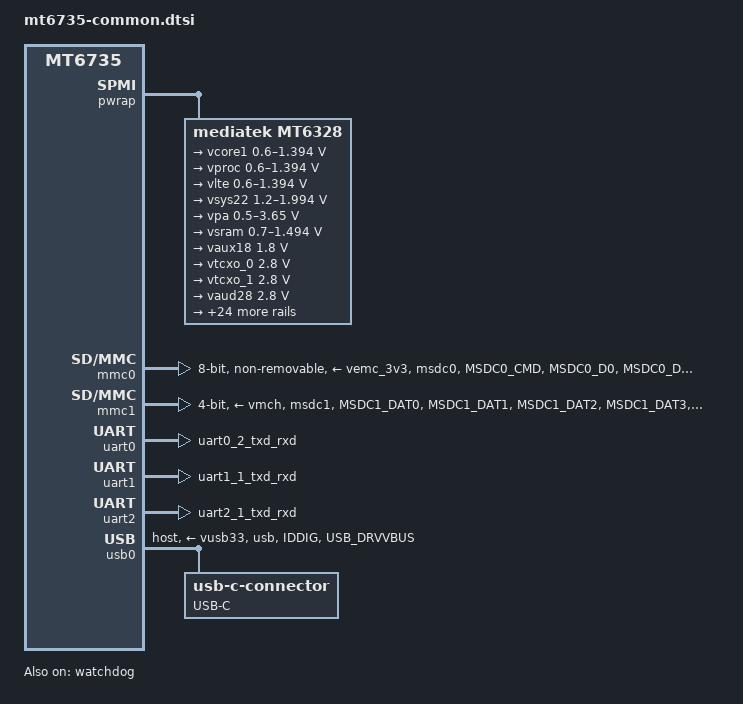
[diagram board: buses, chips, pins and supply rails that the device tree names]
// SPDX-License-Identifier: (GPL-2.0 OR MIT)
/*
 * Copyright (C) 2018 MediaTek Inc.
 * Author: Ryder Lee <ryder.lee@mediatek.com>
 */

/dts-v1/;
#include "mt6735.dtsi"

/ {
	#address-cells = <1>;
	#size-cells = <1>;

	chosen {
		stdout-path = &uart0;
	};
};

&pwrap {
	status = "okay";

	mt6328: pmic {
		compatible = "mediatek,mt6328";
		interrupts = <GIC_SPI 163 IRQ_TYPE_LEVEL_HIGH>;

		interrupt-controller;
		#interrupt-cells = <2>;

		regulators {
			vcore1: buck_vcore1 {
				regulator-name = "buck_vcore1";
				regulator-always-on;
				regulator-min-microvolt = <600000>;
				regulator-max-microvolt = <1393750>;
			};

			vproc: buck_vproc {
				regulator-name = "buck_vproc";
				regulator-always-on;
				regulator-min-microvolt = <600000>;
				regulator-max-microvolt = <1393750>;
			};

			vlte: buck_vlte {
				regulator-name = "buck_vlte";
				regulator-always-on;
				regulator-min-microvolt = <600000>;
				regulator-max-microvolt = <1393750>;
			};

			vsys22: buck_vsys22 {
				regulator-name = "buck_vsys22";
				regulator-min-microvolt = <1200000>;
				regulator-max-microvolt = <1993750>;
				regulator-ramp-delay = <6250>;
				regulator-enable-ramp-delay = <180>;
				regulator-always-on;
				regulator-boot-on;
			};

			vpa: buck_vpa {
				regulator-name = "buck_vpa";
				regulator-min-microvolt = <500000>;
				regulator-max-microvolt = <3650000>;
				regulator-ramp-delay = <50000>;
				regulator-enable-ramp-delay = <180>;
			};

			vsram: ldo_vsram {
				regulator-name = "vsram";
				regulator-min-microvolt = <700000>;
				regulator-max-microvolt = <1493750>;
				regulator-enable-ramp-delay = <220>;
				regulator-ramp-delay = <6250>;
				regulator-boot-on;
			};

			vaux18: ldo_vaux18 {
				regulator-name = "ldo_vaux18";
				regulator-min-microvolt = <1800000>;
				regulator-max-microvolt = <1800000>;
				regulator-enable-ramp-delay = <264>;
				regulator-boot-on;
			};

			vtcxo_0: ldo_vtcxo_0 {
				regulator-name = "ldo_vtcxo_0";
				regulator-min-microvolt = <2800000>;
				regulator-max-microvolt = <2800000>;
				regulator-enable-ramp-delay = <110>;
				regulator-boot-on;
			};

			vtcxo_1: ldo_vtcxo_1 {
				regulator-name = "ldo_vtcxo_1";
				regulator-min-microvolt = <2800000>;
				regulator-max-microvolt = <2800000>;
				regulator-enable-ramp-delay = <110>;
			};

			vaud28: ldo_vaud28 {
				regulator-name = "ldo_vaud28";
				regulator-min-microvolt = <2800000>;
				regulator-max-microvolt = <2800000>;
				regulator-enable-ramp-delay = <264>;
				regulator-boot-on;
			};

			vcn28: ldo_vcn28 {
				regulator-name = "ldo_vcn28";
				regulator-min-microvolt = <2800000>;
				regulator-max-microvolt = <2800000>;
				regulator-enable-ramp-delay = <264>;
			};

			vcama: ldo_vcama {
				regulator-name = "ldo_vcama";
				regulator-min-microvolt = <1500000>;
				regulator-max-microvolt = <2800000>;
				regulator-enable-ramp-delay = <264>;
			};

			vcn33_bt: ldo_vcn33_bt {
				regulator-name = "ldo_vcn33_bt";
				regulator-min-microvolt = <3300000>;
				regulator-max-microvolt = <3600000>;
				regulator-enable-ramp-delay = <264>;
			};

			vcn33_wifi: ldo_vcn33_wifi {
				regulator-name = "ldo_vcn33_wifi";
				regulator-min-microvolt = <3300000>;
				regulator-max-microvolt = <3600000>;
				regulator-enable-ramp-delay = <264>;
			};

			vusb33: ldo_vusb33 {
				regulator-name = "ldo_vusb33";
				regulator-min-microvolt = <3300000>;
				regulator-max-microvolt = <3300000>;
				regulator-enable-ramp-delay = <264>;
				regulator-boot-on;
			};

			vefuse: ldo_vefuse {
				regulator-name = "ldo_vefuse";
				regulator-min-microvolt = <1800000>;
				regulator-max-microvolt = <2200000>;
				regulator-enable-ramp-delay = <264>;
			};

			sim1: ldo_vsim1 {
				regulator-name = "ldo_vsim1";
				regulator-min-microvolt = <1700000>;
				regulator-max-microvolt = <2100000>;
				regulator-enable-ramp-delay = <264>;
			};

			sim2: ldo_vsim2 {
				regulator-name = "ldo_vsim2";
				regulator-min-microvolt = <1700000>;
				regulator-max-microvolt = <2100000>;
				regulator-enable-ramp-delay = <264>;
			};

			vemc_3v3: ldo_vemc3v3 {
				regulator-name = "ldo_vemc3v3";
				regulator-min-microvolt = <1800000>;
				regulator-max-microvolt = <3300000>;
				regulator-enable-ramp-delay = <264>;
				regulator-boot-on;
			};

			vmch: ldo_vmch {
				regulator-name = "ldo_vmch";
				regulator-min-microvolt = <2900000>;
				regulator-max-microvolt = <3300000>;
				regulator-enable-ramp-delay = <44>;
			};

			vtref: ldo_vtref {
				regulator-name = "ldo_vtref";
				regulator-min-microvolt = <1800000>;
				regulator-max-microvolt = <1800000>;
				regulator-enable-ramp-delay = <240>;
			};

			vmc: ldo_vmc {
				regulator-name = "ldo_vmc";
				regulator-min-microvolt = <1800000>;
				regulator-max-microvolt = <3300000>;
				regulator-enable-ramp-delay = <44>;
			};

			vcamaf: ldo_vcamaf {
				regulator-name = "ldo_vcamaf";
				regulator-min-microvolt = <1200000>;
				regulator-max-microvolt = <3300000>;
				regulator-enable-ramp-delay = <264>;
			};

			vio28: ldo_vio28 {
				regulator-name = "ldo_vio28";
				regulator-min-microvolt = <2800000>;
				regulator-max-microvolt = <2800000>;
				regulator-enable-ramp-delay = <264>;
				regulator-boot-on;
			};

			vrtc: ldo_vrtc {
				regulator-name = "ldo_vrtc";
				regulator-min-microvolt = <2800000>;
				regulator-max-microvolt = <2800000>;
				regulator-enable-ramp-delay = <264>;
				regulator-boot-on;
			};

			vgp1: ldo_vgp1 {
				regulator-name = "ldo_vgp1";
				regulator-min-microvolt = <1200000>;
				regulator-max-microvolt = <3300000>;
				regulator-enable-ramp-delay = <264>;
			};

			vibr: ldo_vibr {
				regulator-name = "ldo_vibr";
				regulator-min-microvolt = <1200000>;
				regulator-max-microvolt = <3300000>;
				regulator-enable-ramp-delay = <44>;
			};

			vcamd: ldo_vcamd {
				regulator-name = "ldo_vcamd";
				regulator-min-microvolt = <900000>;
				regulator-max-microvolt = <1500000>;
				regulator-enable-ramp-delay = <264>;
			};

			vrf18_0: ldo_vrf18_0 {
				regulator-name = "ldo_vrf18_0";
				regulator-min-microvolt = <1825000>;
				regulator-max-microvolt = <1825000>;
				regulator-enable-ramp-delay = <220>;
			};

			vrf18_1: ldo_vrf18_1 {
				regulator-name = "ldo_vrf18_1";
				regulator-min-microvolt = <1200000>;
				regulator-max-microvolt = <1825000>;
				regulator-enable-ramp-delay = <220>;
			};

			vio18: ldo_vio18 {
				regulator-name = "ldo_vio18";
				regulator-min-microvolt = <1800000>;
				regulator-max-microvolt = <1800000>;
				regulator-enable-ramp-delay = <264>;
				regulator-boot-on;
			};

			vcn18: ldo_vcn18 {
				regulator-name = "ldo_vcn18";
				regulator-min-microvolt = <1800000>;
				regulator-max-microvolt = <1800000>;
				regulator-enable-ramp-delay = <44>;
			};

			vcamio: ldo_vcamio {
				regulator-name = "ldo_vcamio";
				regulator-min-microvolt = <1200000>;
				regulator-max-microvolt = <1800000>;
				regulator-enable-ramp-delay = <220>;
			};

			vm: ldo_vm {
				regulator-name = "ldo_vm";
				regulator-min-microvolt = <1240000>;
				regulator-max-microvolt = <1540000>;
				regulator-enable-ramp-delay = <264>;
				regulator-boot-on;
			};
		};

		mt6328_keys: mt6328_keys{
			compatible = "mediatek,mtk-pwrkey";
			#gpio-cells = <2>;
			gpio-controller;
		};
	};
};

&mmc0 {
	status = "okay";

	pinctrl-names = "default";
	pinctrl-0 = <&mmc0_pins_default>;

	vmmc-supply = <&vemc_3v3>;
	vqmmc-supply = <&vio18>;

	bus-width = <8>;
	max-frequency = <200000000>;
	cap-mmc-highspeed;
	cap-mmc-hw-reset;
	mmc-hs400-1_8v;
	non-removable;
};

&mmc1 {
	status = "okay";

	pinctrl-names = "default";
	pinctrl-0 = <&mmc1_pins_default>;

	vmmc-supply = <&vmch>;
	vqmmc-supply = <&vmc>;

	bus-width = <4>;
	max-frequency = <200000000>;
	cap-sd-highspeed;
	sd-uhs-sdr104;
};

&pinctrl {
	mmc0_pins_default: mmc0default {
		mux {
			function = "msdc";
			groups =  "msdc0";
		};

		conf-cmd-data {
			pins = "MSDC0_CMD", "MSDC0_D0", "MSDC0_D1",
			       "MSDC0_D2", "MSDC0_D3", "MSDC0_D4",
			       "MSDC0_D5", "MSDC0_D6", "MSDC0_D7";
			input-enable;
			bias-pull-up;
		};

		conf-clk {
			pins = "MSDC0_CLK";
			bias-pull-down;
		};

		conf-ds {
			pins = "MSDC0_DSL";
			bias-pull-down;
		};

		conf-rst {
			pins = "MSDC0_RSTB";
			bias-pull-up;
		};
	};

	mmc1_pins_default: mmc1default {
		mux {
			function = "msdc";
			groups =  "msdc1";
		};

		conf-cmd-data {
			pins = "MSDC1_DAT0", "MSDC1_DAT1", "MSDC1_DAT2",
			       "MSDC1_DAT3", "MSDC1_CMD";
			input-enable;
			bias-pull-up;
		};

		conf-clk {
			pins = "MSDC1_CLK";
			bias-pull-down;
		};

	};

	uart0_pins_a: uart0-default {
		mux {
			function = "uart";
			groups =  "uart0_2_txd_rxd";
		};
	};

	uart1_pins_a: uart1-default {
		mux {
			function = "uart";
			groups =  "uart1_1_txd_rxd";
		};
	};

	uart2_pins_a: uart2-default {
		mux {
			function = "uart";
			groups =  "uart2_1_txd_rxd";
		};
	};

	uart3_pins_a: uart3-default {
		mux {
			function = "uart";
			groups =  "uart3_1_txd_rxd";
		};
	};

	usb_pins_a: usb-default {
		mux {
			function = "usb";
			groups = "usb";
		};

		conf-host {
			pins = "IDDIG", "USB_DRVVBUS";
			input-enable;
			bias-pull-up;
		};
	};

	usb_pins_b: usb-otg {
		mux {
			function = "usb";
			groups = "usb";
		};

		conf-otg {
			pins = "IDDIG", "USB_DRVVBUS";
			input-enable;
			bias-pull-down;
		};
	};
};

&uart0 {
	status = "okay";

	pinctrl-names = "default";
	pinctrl-0 = <&uart0_pins_a>;
};

&uart1 {
	status = "okay";

	pinctrl-names = "default";
	pinctrl-0 = <&uart1_pins_a>;
};

&uart2 {
	status = "okay";

	pinctrl-names = "default";
	pinctrl-0 = <&uart2_pins_a>;
};

&watchdog {
	status = "okay";
};

&usb0 {
	status = "okay";

	vbus-supply = <&vusb33>;

	pinctrl-names = "default", "otg";
	pinctrl-0 = <&usb_pins_a>;
	pinctrl-1 = <&usb_pins_b>;

	dr_mode = "host";

	usb_con_c: connector {
		compatible = "usb-c-connector";
		label = "USB-C";
	};
};
